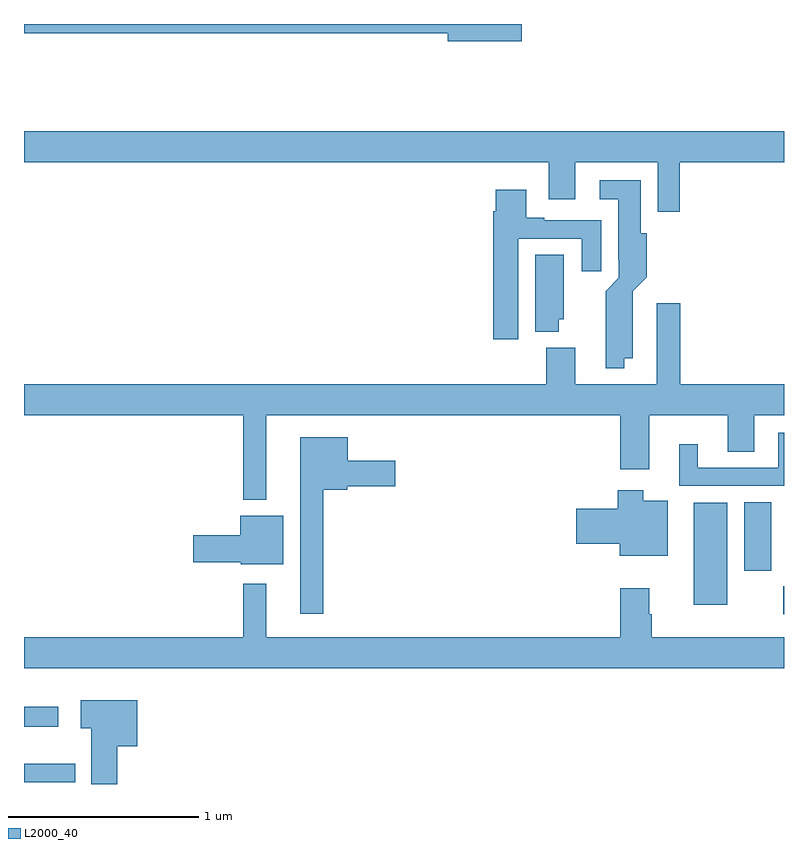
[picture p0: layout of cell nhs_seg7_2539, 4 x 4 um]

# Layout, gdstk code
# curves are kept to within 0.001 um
import gdstk
lib = gdstk.Library(unit=1e-6, precision=1e-09)
def R(c, l, rs):  # rectangles x0, y0, x1, y1
    for r in rs: c.add(gdstk.rectangle(r[:2], r[2:], *l))
def P(c, l, *ps):  # polygons
    for p in ps: c.add(gdstk.Polygon(p, *l))
L2000_40 = (2000, 40)

nhs_seg7_2539 = lib.new_cell('nhs_seg7_2539')
R(nhs_seg7_2539, L2000_40, [(277,1008.009,277.27,1008.107), (277,1008.302,277.18,1008.406), (280.996,1008.893,281,1009.041), (280.526,1008.944,280.702,1009.48), (280.79,1009.122,280.933,1009.484)])
P(nhs_seg7_2539, L2000_40, [(279.619,1012),(277,1012),(277,1011.952),(279.23,1011.952),(279.23,1011.91),(279.619,1011.91)],
  [(280.451,1011.272),(281,1011.272),(281,1011.436),(277,1011.436),(277,1011.272),(279.761,1011.272),(279.761,1011.078),(279.901,1011.078),(279.901,1011.272),(280.335,1011.272),(280.335,1011.012),(280.451,1011.012)],
  [(280.159,1010.24),(280.204,1010.24),(280.205,1010.594),(280.277,1010.666),(280.277,1010.898),(280.246,1010.898),(280.246,1011.178),(280.029,1011.178),(280.029,1011.077),(280.127,1011.077),(280.127,1010.758),(280.131,1010.758),(280.131,1010.664),(280.061,1010.594),(280.062,1010.189),(280.159,1010.189)],
  [(279.601,1010.871),(279.935,1010.871),(279.935,1010.7),(280.039,1010.7),(280.039,1010.967),(279.739,1010.967),(279.739,1010.98),(279.643,1010.98),(279.643,1011.127),(279.482,1011.127),(279.482,1011.014),(279.47,1011.014),(279.47,1010.34),(279.601,1010.34)],
  [(279.814,1010.445),(279.841,1010.445),(279.841,1010.786),(279.692,1010.786),(279.692,1010.381),(279.814,1010.381)],
  [(278.275,1009.94),(280.139,1009.94),(280.139,1009.656),(280.291,1009.656),(280.291,1009.94),(280.703,1009.94),(280.703,1009.75),(280.843,1009.75),(280.843,1009.94),(281,1009.94),(281,1010.104),(280.454,1010.104),(280.454,1010.53),(280.331,1010.53),(280.331,1010.104),(279.901,1010.104),(279.901,1010.296),(279.749,1010.296),(279.749,1010.104),(277,1010.104),(277,1009.94),(278.154,1009.94),(278.154,1009.496),(278.275,1009.496)],
  [(281,1009.849),(280.97,1009.849),(280.97,1009.665),(280.546,1009.665),(280.546,1009.789),(280.448,1009.789),(280.448,1009.569),(281,1009.569)],
  [(278.575,1009.55),(278.7,1009.55),(278.7,1009.568),(278.953,1009.568),(278.953,1009.702),(278.704,1009.702),(278.704,1009.825),(278.453,1009.825),(278.453,1008.897),(278.575,1008.897)],
  [(280.387,1009.492),(280.258,1009.492),(280.258,1009.546),(280.124,1009.546),(280.124,1009.448),(279.906,1009.448),(279.906,1009.265),(280.136,1009.265),(280.136,1009.202),(280.387,1009.202)],
  [(278.365,1009.411),(278.138,1009.411),(278.138,1009.31),(277.89,1009.31),(277.89,1009.168),(278.142,1009.168),(278.142,1009.157),(278.365,1009.157)],
  [(281,1008.772),(280.304,1008.772),(280.304,1008.893),(280.291,1008.893),(280.291,1009.03),(280.139,1009.03),(280.139,1008.772),(278.275,1008.772),(278.275,1009.054),(278.154,1009.054),(278.154,1008.772),(277,1008.772),(277,1008.608),(281,1008.608)],
  [(277.49,1008.2),(277.597,1008.2),(277.597,1008.442),(277.299,1008.442),(277.299,1008.293),(277.355,1008.293),(277.355,1008),(277.49,1008)])

lib.write_gds('nhs_seg7_2539.gds')
